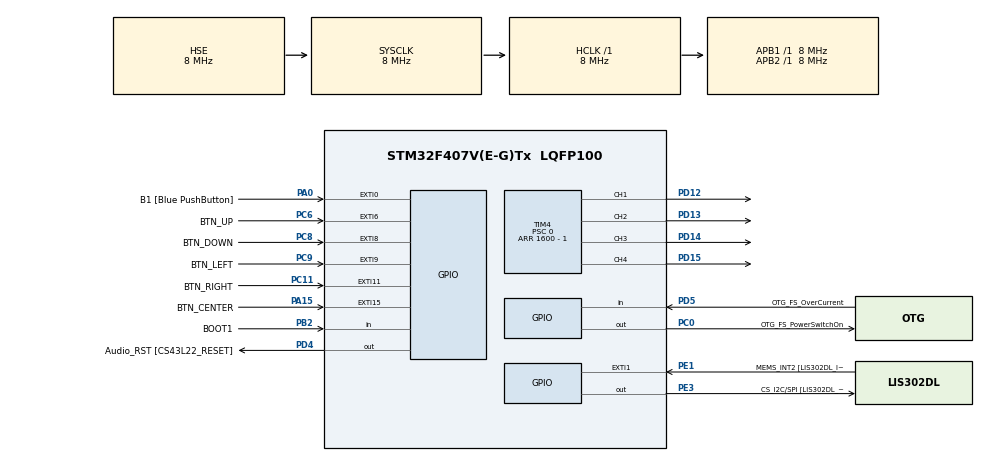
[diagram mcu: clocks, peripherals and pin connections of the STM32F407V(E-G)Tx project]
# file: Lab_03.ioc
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Mcu.Family=STM32F4
Mcu.Name=STM32F407V(E-G)Tx
Mcu.Package=LQFP100
NVIC.EXTI15_10_IRQn=true\:0\:0\:false\:false\:true\:true\:true
NVIC.EXTI9_5_IRQn=true\:0\:0\:false\:false\:true\:true\:true
NVIC.PriorityGroup=NVIC_PRIORITYGROUP_0
PA0-WKUP.GPIO_Label=B1 [Blue PushButton]
PA0-WKUP.Signal=GPXTI0
PA10.GPIO_Label=OTG_FS_ID
PA10.GPIO_Mode=GPIO_MODE_AF_PP
PA10.GPIO_PuPd=GPIO_NOPULL
PA10.GPIO_Speed=GPIO_SPEED_FREQ_LOW
PA10.Signal=USB_OTG_FS_ID
PA11.GPIO_Label=OTG_FS_DM
PA11.GPIO_Mode=GPIO_MODE_AF_PP
PA11.GPIO_PuPd=GPIO_NOPULL
PA11.GPIO_Speed=GPIO_SPEED_FREQ_LOW
PA11.Signal=USB_OTG_FS_DM
PA12.GPIO_Label=OTG_FS_DP
PA12.GPIO_Mode=GPIO_MODE_AF_PP
PA12.GPIO_PuPd=GPIO_NOPULL
PA12.GPIO_Speed=GPIO_SPEED_FREQ_LOW
PA12.Signal=USB_OTG_FS_DP
PA13.GPIO_Label=SWDIO
PA13.Signal=SYS_JTMS-SWDIO
PA14.GPIO_Label=SWCLK
PA14.Signal=SYS_JTCK-SWCLK
PA15.GPIO_Label=BTN_CENTER
PA15.GPIO_ModeDefaultEXTI=GPIO_MODE_IT_FALLING
PA15.Signal=GPXTI15
PA4.GPIO_Label=I2S3_WS [CS43L22_LRCK]
PA4.GPIO_Mode=GPIO_MODE_AF_PP
PA4.GPIO_PuPd=GPIO_NOPULL
PA4.GPIO_Speed=GPIO_SPEED_FREQ_LOW
PA4.Signal=I2S3_WS
PA5.GPIO_Label=SPI1_SCK [LIS302DL_SCL/SPC]
PA5.GPIO_Mode=GPIO_MODE_AF_PP
PA5.GPIO_PuPd=GPIO_NOPULL
PA5.GPIO_Speed=GPIO_SPEED_FREQ_LOW
PA5.Signal=SPI1_SCK
PA6.GPIO_Label=SPI1_MISO [LIS302DL_SDO]
PA6.GPIO_Mode=GPIO_MODE_AF_PP
PA6.GPIO_PuPd=GPIO_NOPULL
PA6.GPIO_Speed=GPIO_SPEED_FREQ_LOW
PA6.Signal=SPI1_MISO
PA7.GPIO_Label=SPI1_MOSI [LIS302DL_SDA/SDI/SDO]
PA7.GPIO_Mode=GPIO_MODE_AF_PP
PA7.GPIO_PuPd=GPIO_NOPULL
PA7.GPIO_Speed=GPIO_SPEED_FREQ_LOW
PA7.Signal=SPI1_MOSI
PA9.GPIO_Label=VBUS_FS
PA9.GPIO_Mode=GPIO_MODE_INPUT
PA9.GPIO_PuPd=GPIO_NOPULL
PA9.Signal=USB_OTG_FS_VBUS
PB10.GPIO_Label=CLK_IN [MP45DT02_CLK]
PB10.GPIO_Mode=GPIO_MODE_AF_PP
PB10.GPIO_PuPd=GPIO_NOPULL
PB10.GPIO_Speed=GPIO_SPEED_FREQ_LOW
PB10.Signal=I2S2_CK
PB2.GPIO_Label=BOOT1
PB2.GPIO_Mode=GPIO_MODE_INPUT
PB2.GPIO_PuPd=GPIO_NOPULL
PB2.Signal=GPIO_Input
PB3.GPIO_Label=SWO
PB3.Signal=SYS_JTDO-SWO
PB6.GPIO_Label=Audio_SCL [CS43L22_SCL]
PB6.GPIO_Mode=GPIO_MODE_AF_OD
PB6.GPIO_PuPd=GPIO_NOPULL
PB6.GPIO_Speed=GPIO_SPEED_FREQ_LOW
PB6.Signal=I2C1_SCL
PB9.GPIO_Label=Audio_SDA [CS43L22_SDA]
PB9.GPIO_Mode=GPIO_MODE_AF_OD
PB9.GPIO_PuPd=GPIO_NOPULL
PB9.GPIO_Speed=GPIO_SPEED_FREQ_LOW
PB9.Signal=I2C1_SDA
PC0.GPIO_Label=OTG_FS_PowerSwitchOn
PC0.GPIO_PuPd=GPIO_NOPULL
PC0.GPIO_Speed=GPIO_SPEED_FREQ_LOW
PC0.PinState=GPIO_PIN_SET
PC0.Signal=GPIO_Output
PC10.GPIO_Label=I2S3_SCK [CS43L22_SCLK]
PC10.GPIO_Mode=GPIO_MODE_AF_PP
PC10.GPIO_PuPd=GPIO_NOPULL
PC10.GPIO_Speed=GPIO_SPEED_FREQ_LOW
PC10.Signal=I2S3_CK
PC11.GPIO_Label=BTN_RIGHT
PC11.GPIO_ModeDefaultEXTI=GPIO_MODE_IT_FALLING
PC11.Signal=GPXTI11
PC12.GPIO_Label=I2S3_SD [CS43L22_SDIN]
PC12.GPIO_Mode=GPIO_MODE_AF_PP
PC12.GPIO_PuPd=GPIO_NOPULL
PC12.GPIO_Speed=GPIO_SPEED_FREQ_LOW
PC12.Signal=I2S3_SD
PC14-OSC32_IN.GPIO_Label=PC14-OSC32_IN
PC14-OSC32_IN.Signal=RCC_OSC32_IN
PC15-OSC32_OUT.GPIO_Label=PC15-OSC32_OUT
PC15-OSC32_OUT.Signal=RCC_OSC32_OUT
PC3.GPIO_Label=PDM_OUT [MP45DT02_DOUT]
PC3.GPIO_Mode=GPIO_MODE_AF_PP
PC3.GPIO_PuPd=GPIO_NOPULL
PC3.GPIO_Speed=GPIO_SPEED_FREQ_LOW
PC3.Signal=I2S2_SD
PC6.GPIO_Label=BTN_UP
PC6.GPIO_ModeDefaultEXTI=GPIO_MODE_IT_FALLING
PC6.Signal=GPXTI6
PC7.GPIO_Label=I2S3_MCK [CS43L22_MCLK]
PC7.GPIO_Mode=GPIO_MODE_AF_PP
PC7.GPIO_PuPd=GPIO_NOPULL
PC7.GPIO_Speed=GPIO_SPEED_FREQ_LOW
PC7.Signal=I2S3_MCK
PC8.GPIO_Label=BTN_DOWN
PC8.GPIO_ModeDefaultEXTI=GPIO_MODE_IT_FALLING
PC8.Signal=GPXTI8
PC9.GPIO_Label=BTN_LEFT
PC9.GPIO_ModeDefaultEXTI=GPIO_MODE_IT_FALLING
PC9.Signal=GPXTI9
PD12.GPIO_ModeDefaultPP=GPIO_MODE_AF_PP
PD12.GPIO_PuPd=GPIO_PULLDOWN
PD12.Signal=S_TIM4_CH1
PD13.GPIO_ModeDefaultPP=GPIO_MODE_AF_PP
PD13.GPIO_PuPd=GPIO_PULLDOWN
PD13.Signal=S_TIM4_CH2
PD14.GPIO_ModeDefaultPP=GPIO_MODE_AF_PP
PD14.GPIO_PuPd=GPIO_PULLDOWN
PD14.Signal=S_TIM4_CH3
PD15.GPIO_ModeDefaultPP=GPIO_MODE_AF_PP
PD15.GPIO_PuPd=GPIO_PULLDOWN
PD15.Signal=S_TIM4_CH4
PD4.GPIO_Label=Audio_RST [CS43L22_RESET]
PD4.GPIO_PuPd=GPIO_NOPULL
PD4.GPIO_Speed=GPIO_SPEED_FREQ_LOW
PD4.Signal=GPIO_Output
PD5.GPIO_Label=OTG_FS_OverCurrent
PD5.GPIO_Mode=GPIO_MODE_INPUT
PD5.GPIO_PuPd=GPIO_NOPULL
PD5.Signal=GPIO_Input
PE1.GPIO_Label=MEMS_INT2 [LIS302DL_INT2]
PE1.GPIO_ModeDefaultEXTI=GPIO_MODE_EVT_RISING
PE1.GPIO_PuPd=GPIO_NOPULL
PE1.Signal=GPXTI1
PE3.GPIO_Label=CS_I2C/SPI [LIS302DL_CS_I2C/SPI]
PE3.GPIO_PuPd=GPIO_NOPULL
PE3.GPIO_Speed=GPIO_SPEED_FREQ_LOW
PE3.Signal=GPIO_Output
PH0-OSC_IN.GPIO_Label=PH0-OSC_IN
PH0-OSC_IN.Mode=HSE-External-Oscillator
PH0-OSC_IN.Signal=RCC_OSC_IN
PH1-OSC_OUT.GPIO_Label=PH1-OSC_OUT
PH1-OSC_OUT.Mode=HSE-External-Oscillator
PH1-OSC_OUT.Signal=RCC_OSC_OUT
ProjectManager.HeapSize=0x200
ProjectManager.StackSize=0x400
ProjectManager.TargetToolchain=STM32CubeIDE
RCC.48MHZClocksFreq_Value=10285714.285714285
RCC.AHBFreq_Value=8000000
RCC.APB1Freq_Value=8000000
RCC.APB1TimFreq_Value=8000000
RCC.APB2Freq_Value=8000000
RCC.APB2TimFreq_Value=8000000
RCC.CortexFreq_Value=8000000
RCC.HCLKFreq_Value=8000000
RCC.HSE_VALUE=8000000
RCC.HSI_VALUE=16000000
RCC.LSE_VALUE=32768
RCC.PLLM=8
RCC.PLLN=72
RCC.PLLP=RCC_PLLP_DIV6
RCC.PLLQ=7
RCC.PLLSourceVirtual=RCC_PLLSOURCE_HSE
RCC.SYSCLKFreq_VALUE=8000000
RCC.SYSCLKSource=RCC_SYSCLKSOURCE_HSE
RCC.VCOOutputFreq_Value=72000000
SH.S_TIM4_CH1.0=TIM4_CH1,PWM Generation1 CH1
SH.S_TIM4_CH2.0=TIM4_CH2,PWM Generation2 CH2
SH.S_TIM4_CH3.0=TIM4_CH3,PWM Generation3 CH3
SH.S_TIM4_CH4.0=TIM4_CH4,PWM Generation4 CH4
TIM4.Channel-PWM\ Generation1\ CH1=TIM_CHANNEL_1
TIM4.Channel-PWM\ Generation2\ CH2=TIM_CHANNEL_2
TIM4.Channel-PWM\ Generation3\ CH3=TIM_CHANNEL_3
TIM4.Channel-PWM\ Generation4\ CH4=TIM_CHANNEL_4
TIM4.ClockDivision=TIM_CLOCKDIVISION_DIV1
TIM4.Period=1600 - 1
TIM4.Prescaler=0
TIM4.Pulse-PWM\ Generation1\ CH1=800
TIM4.Pulse-PWM\ Generation2\ CH2=800
TIM4.Pulse-PWM\ Generation3\ CH3=800
TIM4.Pulse-PWM\ Generation4\ CH4=800
board=STM32F407G-DISC1

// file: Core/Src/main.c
/* USER CODE BEGIN Header */
/**
  ******************************************************************************
  * @file           : main.c
  * @brief          : Main program body
  ******************************************************************************
  * @attention
  *
  * <h2><center>&copy; Copyright (c) 2021 STMicroelectronics.
  * All rights reserved.</center></h2>
  *
  * This software component is licensed by ST under BSD 3-Clause license,
  * the "License"; You may not use this file except in compliance with the
  * License. You may obtain a copy of the License at:
  *                        opensource.org/licenses/BSD-3-Clause
  *
  ******************************************************************************
  */
/* USER CODE END Header */
#include "main.h"

/* USER CODE BEGIN PTD */
typedef enum
{
	CHANNEL_1,
	CHANNEL_2,
	CHANNEL_3,
	CHANNEL_4,
	CHANNEL_NONE,
	CHANNEL_COUNT
} Channel_type;
/* USER CODE END PTD */

/* USER CODE BEGIN PM */
#define COUNT(a) (sizeof(a) / sizeof(a[0]))

#define CLOCK_FREQ 8000000
#define MIN_FREQ 5000
#define MAX_FREQ 50000
#define FREQ_STEP 5000
#define MIN_DUTY 0
#define MAX_DUTY 100
#define DUTY_STEP 5

#define TIM_CHANNEL_NONE 0x000000FFU
/* USER CODE END PM */

TIM_HandleTypeDef htim4;

/* USER CODE BEGIN PV */
static uint32_t channels[] = {TIM_CHANNEL_1, TIM_CHANNEL_2, TIM_CHANNEL_3, TIM_CHANNEL_4, TIM_CHANNEL_NONE};
static uint8_t channel_index = 0;
static uint8_t current_duty = 50;
static uint16_t current_frequency = MIN_FREQ;
/* USER CODE END PV */

void SystemClock_Config(void);
static void MX_GPIO_Init(void);
static void MX_TIM4_Init(void);
/* USER CODE BEGIN PFP */
static void Switch_Channel(void);
static void Increase_Frequency(void);
static void Decrease_Frequency(void);
static void Increase_Duty(void);
static void Decrease_Duty(void);
static void Update_Duty(void);
/* USER CODE END PFP */

int main(void)
{

  /* MCU Configuration--------------------------------------------------------*/

  /* Reset of all peripherals, Initializes the Flash interface and the Systick. */
  HAL_Init();

  /* Configure the system clock */
  SystemClock_Config();

  /* Initialize all configured peripherals */
  MX_GPIO_Init();
  MX_TIM4_Init();
  /* USER CODE BEGIN 2 */

  HAL_TIM_PWM_Start(&htim4, TIM_CHANNEL_1);

  /* USER CODE END 2 */

  /* Infinite loop */
  while (1)
  {

  }
}

void SystemClock_Config(void)
{
  RCC_OscInitTypeDef RCC_OscInitStruct = {0};
  RCC_ClkInitTypeDef RCC_ClkInitStruct = {0};

  /** Configure the main internal regulator output voltage
  */
  __HAL_RCC_PWR_CLK_ENABLE();
  __HAL_PWR_VOLTAGESCALING_CONFIG(PWR_REGULATOR_VOLTAGE_SCALE1);
  /** Initializes the RCC Oscillators according to the specified parameters
  * in the RCC_OscInitTypeDef structure.
  */
  RCC_OscInitStruct.OscillatorType = RCC_OSCILLATORTYPE_HSE;
  RCC_OscInitStruct.HSEState = RCC_HSE_ON;
  RCC_OscInitStruct.PLL.PLLState = RCC_PLL_NONE;
  if (HAL_RCC_OscConfig(&RCC_OscInitStruct) != HAL_OK)
  {
    Error_Handler();
  }
  /** Initializes the CPU, AHB and APB buses clocks
  */
  RCC_ClkInitStruct.ClockType = RCC_CLOCKTYPE_HCLK|RCC_CLOCKTYPE_SYSCLK
                              |RCC_CLOCKTYPE_PCLK1|RCC_CLOCKTYPE_PCLK2;
  RCC_ClkInitStruct.SYSCLKSource = RCC_SYSCLKSOURCE_HSE;
  RCC_ClkInitStruct.AHBCLKDivider = RCC_SYSCLK_DIV1;
  RCC_ClkInitStruct.APB1CLKDivider = RCC_HCLK_DIV1;
  RCC_ClkInitStruct.APB2CLKDivider = RCC_HCLK_DIV1;

  if (HAL_RCC_ClockConfig(&RCC_ClkInitStruct, FLASH_LATENCY_0) != HAL_OK)
  {
    Error_Handler();
  }
}

static void MX_TIM4_Init(void)
{

  TIM_MasterConfigTypeDef sMasterConfig = {0};
  TIM_OC_InitTypeDef sConfigOC = {0};

  htim4.Instance = TIM4;
  htim4.Init.Prescaler = 0;
  htim4.Init.CounterMode = TIM_COUNTERMODE_UP;
  htim4.Init.Period = 1600 - 1;
  htim4.Init.ClockDivision = TIM_CLOCKDIVISION_DIV1;
  htim4.Init.AutoReloadPreload = TIM_AUTORELOAD_PRELOAD_DISABLE;
  if (HAL_TIM_PWM_Init(&htim4) != HAL_OK)
  {
    Error_Handler();
  }
  sMasterConfig.MasterOutputTrigger = TIM_TRGO_RESET;
  sMasterConfig.MasterSlaveMode = TIM_MASTERSLAVEMODE_DISABLE;
  if (HAL_TIMEx_MasterConfigSynchronization(&htim4, &sMasterConfig) != HAL_OK)
  {
    Error_Handler();
  }
  sConfigOC.OCMode = TIM_OCMODE_PWM1;
  sConfigOC.Pulse = 800;
  sConfigOC.OCPolarity = TIM_OCPOLARITY_HIGH;
  sConfigOC.OCFastMode = TIM_OCFAST_DISABLE;
  if (HAL_TIM_PWM_ConfigChannel(&htim4, &sConfigOC, TIM_CHANNEL_1) != HAL_OK)
  {
    Error_Handler();
  }
  if (HAL_TIM_PWM_ConfigChannel(&htim4, &sConfigOC, TIM_CHANNEL_2) != HAL_OK)
  {
    Error_Handler();
  }
  if (HAL_TIM_PWM_ConfigChannel(&htim4, &sConfigOC, TIM_CHANNEL_3) != HAL_OK)
  {
    Error_Handler();
  }
  if (HAL_TIM_PWM_ConfigChannel(&htim4, &sConfigOC, TIM_CHANNEL_4) != HAL_OK)
  {
    Error_Handler();
  }
  HAL_TIM_MspPostInit(&htim4);

}

static void MX_GPIO_Init(void)
{
  GPIO_InitTypeDef GPIO_InitStruct = {0};

  /* GPIO Ports Clock Enable */
  __HAL_RCC_GPIOE_CLK_ENABLE();
  __HAL_RCC_GPIOC_CLK_ENABLE();
  __HAL_RCC_GPIOH_CLK_ENABLE();
  __HAL_RCC_GPIOA_CLK_ENABLE();
  __HAL_RCC_GPIOB_CLK_ENABLE();
  __HAL_RCC_GPIOD_CLK_ENABLE();

  /*Configure GPIO pin Output Level */
  HAL_GPIO_WritePin(CS_I2C_SPI_GPIO_Port, CS_I2C_SPI_Pin, GPIO_PIN_RESET);

  /*Configure GPIO pin Output Level */
  HAL_GPIO_WritePin(OTG_FS_PowerSwitchOn_GPIO_Port, OTG_FS_PowerSwitchOn_Pin, GPIO_PIN_SET);

  /*Configure GPIO pin Output Level */
  HAL_GPIO_WritePin(Audio_RST_GPIO_Port, Audio_RST_Pin, GPIO_PIN_RESET);

  /*Configure GPIO pin : CS_I2C_SPI_Pin */
  GPIO_InitStruct.Pin = CS_I2C_SPI_Pin;
  GPIO_InitStruct.Mode = GPIO_MODE_OUTPUT_PP;
  GPIO_InitStruct.Pull = GPIO_NOPULL;
  GPIO_InitStruct.Speed = GPIO_SPEED_FREQ_LOW;
  HAL_GPIO_Init(CS_I2C_SPI_GPIO_Port, &GPIO_InitStruct);

  /*Configure GPIO pin : OTG_FS_PowerSwitchOn_Pin */
  GPIO_InitStruct.Pin = OTG_FS_PowerSwitchOn_Pin;
  GPIO_InitStruct.Mode = GPIO_MODE_OUTPUT_PP;
  GPIO_InitStruct.Pull = GPIO_NOPULL;
  GPIO_InitStruct.Speed = GPIO_SPEED_FREQ_LOW;
  HAL_GPIO_Init(OTG_FS_PowerSwitchOn_GPIO_Port, &GPIO_InitStruct);

  /*Configure GPIO pin : PDM_OUT_Pin */
  GPIO_InitStruct.Pin = PDM_OUT_Pin;
  GPIO_InitStruct.Mode = GPIO_MODE_AF_PP;
  GPIO_InitStruct.Pull = GPIO_NOPULL;
  GPIO_InitStruct.Speed = GPIO_SPEED_FREQ_LOW;
  GPIO_InitStruct.Alternate = GPIO_AF5_SPI2;
  HAL_GPIO_Init(PDM_OUT_GPIO_Port, &GPIO_InitStruct);

  /*Configure GPIO pin : B1_Pin */
  GPIO_InitStruct.Pin = B1_Pin;
  GPIO_InitStruct.Mode = GPIO_MODE_IT_RISING;
  GPIO_InitStruct.Pull = GPIO_NOPULL;
  HAL_GPIO_Init(B1_GPIO_Port, &GPIO_InitStruct);

  /*Configure GPIO pin : I2S3_WS_Pin */
  GPIO_InitStruct.Pin = I2S3_WS_Pin;
  GPIO_InitStruct.Mode = GPIO_MODE_AF_PP;
  GPIO_InitStruct.Pull = GPIO_NOPULL;
  GPIO_InitStruct.Speed = GPIO_SPEED_FREQ_LOW;
  GPIO_InitStruct.Alternate = GPIO_AF6_SPI3;
  HAL_GPIO_Init(I2S3_WS_GPIO_Port, &GPIO_InitStruct);

  /*Configure GPIO pins : SPI1_SCK_Pin SPI1_MISO_Pin SPI1_MOSI_Pin */
  GPIO_InitStruct.Pin = SPI1_SCK_Pin|SPI1_MISO_Pin|SPI1_MOSI_Pin;
  GPIO_InitStruct.Mode = GPIO_MODE_AF_PP;
  GPIO_InitStruct.Pull = GPIO_NOPULL;
  GPIO_InitStruct.Speed = GPIO_SPEED_FREQ_LOW;
  GPIO_InitStruct.Alternate = GPIO_AF5_SPI1;
  HAL_GPIO_Init(GPIOA, &GPIO_InitStruct);

  /*Configure GPIO pin : BOOT1_Pin */
  GPIO_InitStruct.Pin = BOOT1_Pin;
  GPIO_InitStruct.Mode = GPIO_MODE_INPUT;
  GPIO_InitStruct.Pull = GPIO_NOPULL;
  HAL_GPIO_Init(BOOT1_GPIO_Port, &GPIO_InitStruct);

  /*Configure GPIO pin : CLK_IN_Pin */
  GPIO_InitStruct.Pin = CLK_IN_Pin;
  GPIO_InitStruct.Mode = GPIO_MODE_AF_PP;
  GPIO_InitStruct.Pull = GPIO_NOPULL;
  GPIO_InitStruct.Speed = GPIO_SPEED_FREQ_LOW;
  GPIO_InitStruct.Alternate = GPIO_AF5_SPI2;
  HAL_GPIO_Init(CLK_IN_GPIO_Port, &GPIO_InitStruct);

  /*Configure GPIO pins : BTN_UP_Pin BTN_DOWN_Pin BTN_LEFT_Pin BTN_RIGHT_Pin */
  GPIO_InitStruct.Pin = BTN_UP_Pin|BTN_DOWN_Pin|BTN_LEFT_Pin|BTN_RIGHT_Pin;
  GPIO_InitStruct.Mode = GPIO_MODE_IT_FALLING;
  GPIO_InitStruct.Pull = GPIO_NOPULL;
  HAL_GPIO_Init(GPIOC, &GPIO_InitStruct);

  /*Configure GPIO pins : I2S3_MCK_Pin I2S3_SCK_Pin I2S3_SD_Pin */
  GPIO_InitStruct.Pin = I2S3_MCK_Pin|I2S3_SCK_Pin|I2S3_SD_Pin;
  GPIO_InitStruct.Mode = GPIO_MODE_AF_PP;
  GPIO_InitStruct.Pull = GPIO_NOPULL;
  GPIO_InitStruct.Speed = GPIO_SPEED_FREQ_LOW;
  GPIO_InitStruct.Alternate = GPIO_AF6_SPI3;
  HAL_GPIO_Init(GPIOC, &GPIO_InitStruct);

  /*Configure GPIO pin : VBUS_FS_Pin */
  GPIO_InitStruct.Pin = VBUS_FS_Pin;
  GPIO_InitStruct.Mode = GPIO_MODE_INPUT;
  GPIO_InitStruct.Pull = GPIO_NOPULL;
  HAL_GPIO_Init(VBUS_FS_GPIO_Port, &GPIO_InitStruct);

  /*Configure GPIO pins : OTG_FS_ID_Pin OTG_FS_DM_Pin OTG_FS_DP_Pin */
  GPIO_InitStruct.Pin = OTG_FS_ID_Pin|OTG_FS_DM_Pin|OTG_FS_DP_Pin;
  GPIO_InitStruct.Mode = GPIO_MODE_AF_PP;
  GPIO_InitStruct.Pull = GPIO_NOPULL;
  GPIO_InitStruct.Speed = GPIO_SPEED_FREQ_LOW;
  GPIO_InitStruct.Alternate = GPIO_AF10_OTG_FS;
  HAL_GPIO_Init(GPIOA, &GPIO_InitStruct);

  /*Configure GPIO pin : BTN_CENTER_Pin */
  GPIO_InitStruct.Pin = BTN_CENTER_Pin;
  GPIO_InitStruct.Mode = GPIO_MODE_IT_FALLING;
  GPIO_InitStruct.Pull = GPIO_NOPULL;
  HAL_GPIO_Init(BTN_CENTER_GPIO_Port, &GPIO_InitStruct);

  /*Configure GPIO pin : Audio_RST_Pin */
  GPIO_InitStruct.Pin = Audio_RST_Pin;
  GPIO_InitStruct.Mode = GPIO_MODE_OUTPUT_PP;
  GPIO_InitStruct.Pull = GPIO_NOPULL;
  GPIO_InitStruct.Speed = GPIO_SPEED_FREQ_LOW;
  HAL_GPIO_Init(Audio_RST_GPIO_Port, &GPIO_InitStruct);

  /*Configure GPIO pin : OTG_FS_OverCurrent_Pin */
  GPIO_InitStruct.Pin = OTG_FS_OverCurrent_Pin;
  GPIO_InitStruct.Mode = GPIO_MODE_INPUT;
  GPIO_InitStruct.Pull = GPIO_NOPULL;
  HAL_GPIO_Init(OTG_FS_OverCurrent_GPIO_Port, &GPIO_InitStruct);

  /*Configure GPIO pins : Audio_SCL_Pin Audio_SDA_Pin */
  GPIO_InitStruct.Pin = Audio_SCL_Pin|Audio_SDA_Pin;
  GPIO_InitStruct.Mode = GPIO_MODE_AF_OD;
  GPIO_InitStruct.Pull = GPIO_NOPULL;
  GPIO_InitStruct.Speed = GPIO_SPEED_FREQ_LOW;
  GPIO_InitStruct.Alternate = GPIO_AF4_I2C1;
  HAL_GPIO_Init(GPIOB, &GPIO_InitStruct);

  /*Configure GPIO pin : MEMS_INT2_Pin */
  GPIO_InitStruct.Pin = MEMS_INT2_Pin;
  GPIO_InitStruct.Mode = GPIO_MODE_EVT_RISING;
  GPIO_InitStruct.Pull = GPIO_NOPULL;
  HAL_GPIO_Init(MEMS_INT2_GPIO_Port, &GPIO_InitStruct);

  /* EXTI interrupt init*/
  HAL_NVIC_SetPriority(EXTI9_5_IRQn, 0, 0);
  HAL_NVIC_EnableIRQ(EXTI9_5_IRQn);

  HAL_NVIC_SetPriority(EXTI15_10_IRQn, 0, 0);
  HAL_NVIC_EnableIRQ(EXTI15_10_IRQn);

}

/* USER CODE BEGIN 4 */
static void Switch_Channel(void)
{
	if (channels[channel_index] != TIM_CHANNEL_NONE)
	{
		HAL_TIM_PWM_Stop(&htim4, channels[channel_index]);
	}

	channel_index = (channel_index + 1) % COUNT(channels);

	if (channels[channel_index] != TIM_CHANNEL_NONE)
	{
		HAL_TIM_PWM_Start(&htim4, channels[channel_index]);
	}
}

static void Increase_Frequency(void)
{
	if (current_frequency < MAX_FREQ)
	{
		current_frequency += FREQ_STEP;
		TIM4->ARR = CLOCK_FREQ / current_frequency - 1;
		TIM4->CNT = 0;
		Update_Duty();
	}
}

static void Decrease_Frequency(void)
{
	if (current_frequency > MIN_FREQ)
	{
		current_frequency -= FREQ_STEP;
		TIM4->ARR = CLOCK_FREQ / current_frequency - 1;
		TIM4->CNT = 0;
		Update_Duty();

	}
}

static void Update_Duty(void)
{
	uint32_t pulse_value = CLOCK_FREQ / current_frequency * current_duty / 100;

	TIM4->CCR1 = pulse_value;
	TIM4->CCR2 = pulse_value;
	TIM4->CCR3 = pulse_value;
	TIM4->CCR4 = pulse_value;
}

static void Increase_Duty(void)
{
	if (current_duty < MAX_DUTY)
	{
		current_duty += DUTY_STEP;
		Update_Duty();
	}
}

static void Decrease_Duty(void)
{
	if (current_duty > MIN_DUTY)
	{
		current_duty -= DUTY_STEP;
		Update_Duty();
	}
}

void HAL_GPIO_EXTI_Callback(uint16_t GPIO_Pin)
{
	switch (GPIO_Pin)
	{
	case BTN_CENTER_Pin:
		Switch_Channel();
		break;
	case BTN_LEFT_Pin:
		Decrease_Frequency();
		break;
	case BTN_RIGHT_Pin:
		Increase_Frequency();
		break;
	case BTN_UP_Pin:
		Increase_Duty();
		break;
	case BTN_DOWN_Pin:
		Decrease_Duty();
		break;
	}
}
/* USER CODE END 4 */

void Error_Handler(void)
{
  __disable_irq();
  while (1)
  {
  }
}

/************************ (C) COPYRIGHT STMicroelectronics *****END OF FILE****/
